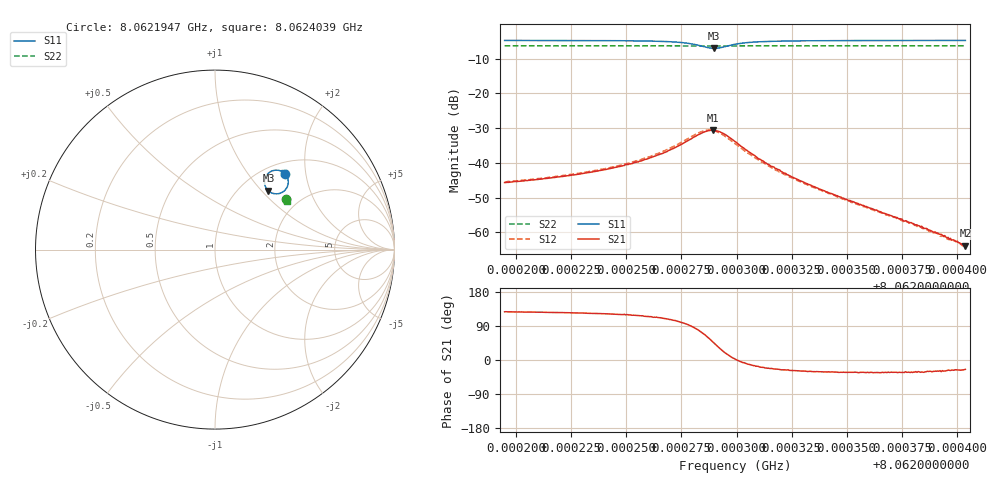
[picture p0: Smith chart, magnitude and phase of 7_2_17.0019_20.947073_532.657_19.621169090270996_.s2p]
#  HZ  S  RI  R  50.00
! Rohde & Schwarz Vector Network Analyzer
! Rohde-Schwarz,ZNB20-2Port,1311601062101988,3.16
! Created: UTC 3/20/2024, 10:52:19 PM
! freq[Hz]  re:S11  im:S11  re:S21  im:S21  re:S12  im:S12  re:S22  im:S22
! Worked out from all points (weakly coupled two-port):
!   401 points, 8.0621947 GHz to 8.0624039 GHz, reference 50 ohm
!   highest |S21| = -30.62 dB at 8.0622894 GHz (marker M1); lowest = -63.8 dB at 8.0624039 GHz (marker M2)
!   lowest |S11| = -7.1 dB at 8.0622899 GHz (marker M3), VSWR 2.59, Z = 66.9 + j54.5 ohm
!   |S11| at or under -10 dB: nowhere
!   |S22| runs from -6.4 to -6.3 dB; largest |S21 - S12| = 0.0058
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8.06219471e9  0.391 0.4216  -0.00314 0.00414  -0.00293 0.0044  0.3928 0.2797
8.06221092e9  0.3937 0.4183  -0.00342 0.0047  -0.00319 0.00505  0.3933 0.279
8.06222974e9  0.3975 0.4128  -0.0039 0.00581  -0.00363 0.00618  0.394 0.2777
8.06224961e9  0.4032 0.4019  -0.00459 0.00825  -0.00414 0.00871  0.3949 0.2762
8.06225641e9  0.4055 0.3954  -0.00477 0.00948  -0.00427 0.0102  0.3948 0.2758
8.06226478e9  0.4078 0.3827  -0.00484 0.0122  -0.00394 0.0133  0.395 0.2746
8.0622768e9  0.4006 0.3459  -0.00194 0.0199  0.000276 0.0213  0.3944 0.2725
8.0622836e9  0.3654 0.3147  0.00673 0.0255  0.0115 0.0253  0.3921 0.2717
8.06228674e9  0.3322 0.3113  0.014 0.0251  0.0188 0.0227  0.3908 0.2723
8.06228935e9  0.3026 0.3235  0.0201 0.0215  0.0237 0.0171  0.3901 0.2734
8.06228988e9  0.2974 0.3277  0.0211 0.0202  0.0244 0.0159  0.39 0.2735
8.06229406e9  0.276 0.3724  0.0244 0.01  0.0244 0.00548  0.3904 0.2755
8.06229929e9  0.289 0.4163  0.0202 0.000924  0.0188 -0.00151  0.3919 0.2766
8.06230818e9  0.3231 0.4401  0.0123 -0.00329  0.0112 -0.00414  0.3939 0.2764
8.06231498e9  0.3396 0.4426  0.0086 -0.00352  0.00796 -0.00395  0.3946 0.276
8.06232387e9  0.3528 0.4419  0.00584 -0.00301  0.00541 -0.00327  0.3955 0.2754
8.06233432e9  0.3621 0.4397  0.004 -0.00237  0.00372 -0.00253  0.3962 0.2747
8.06236936e9  0.3763 0.4334  0.00149 -0.000963  0.00141 -0.000985  0.3978 0.2725
8.0623908e9  0.3806 0.4306  0.000849 -0.000486  0.000828 -0.000513  0.3985 0.2714
8.0623955e9  0.3814 0.4301  0.000736 -0.000391  0.0007 -0.000406  0.3986 0.2711
8.06239916e9  0.3819 0.4298  0.000676 -0.000325  0.000654 -0.000397  0.3988 0.2708
8.06240387e9  0.3828 0.4293  0.000586 -0.000269  0.000557 -0.000301  0.3989 0.2706
